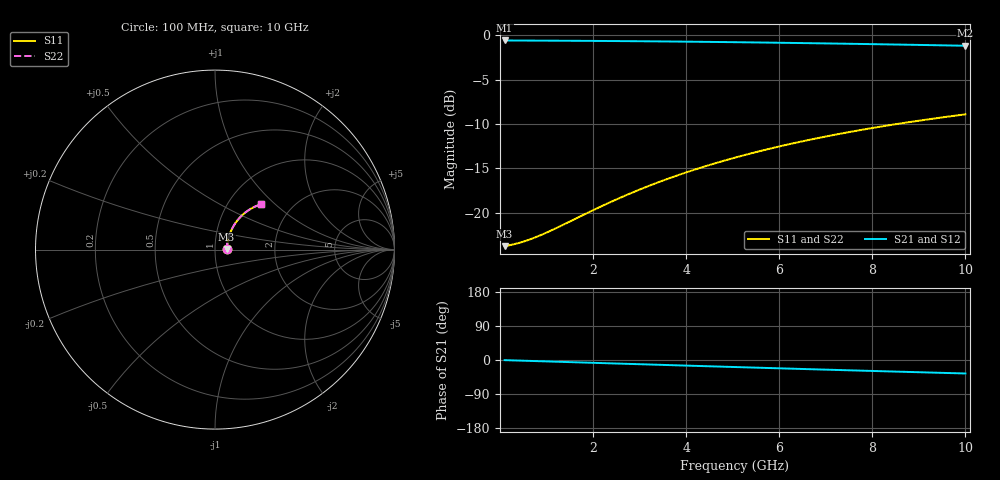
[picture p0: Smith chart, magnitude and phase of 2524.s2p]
# Hz S RI R 50.00
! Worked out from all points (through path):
!   100 points, 100 MHz to 10 GHz, reference 50 ohm
!   highest |S21| = -0.58 dB at 100 MHz (marker M1); lowest = -1.2 dB at 10 GHz (marker M2)
!   group delay of S21, straight-line fit = 9.91 ps
!   lowest |S11| = -23.8 dB at 100 MHz (marker M3), VSWR 1.14, Z = 56.9 + j0.405 ohm
!   |S11| at or under -10 dB: start of sweep to 8.524 GHz
!   |S22| runs from -23.8 to -8.9 dB; largest |S21 - S12| = 0
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1e8  0.0648 0.00354  0.9352 -0.00609  0.9352 -0.00609  0.0648 0.00354
3e8  0.0657 0.0106  0.9343 -0.0182  0.9343 -0.0182  0.0657 0.0106
4e8  0.0661 0.0141  0.9339 -0.0243  0.9339 -0.0243  0.0661 0.0141
6e8  0.0669 0.0212  0.933 -0.0364  0.933 -0.0364  0.0669 0.0212
8e8  0.0678 0.0282  0.9319 -0.0485  0.9319 -0.0485  0.0678 0.0282
1.2e9  0.0702 0.0421  0.9293 -0.0726  0.9293 -0.0726  0.0702 0.0421
1.8e9  0.0748 0.0626  0.9241 -0.1084  0.9241 -0.1084  0.0748 0.0626
2.2e9  0.0787 0.076  0.9196 -0.1321  0.9196 -0.1321  0.0787 0.076
2.6e9  0.0833 0.0892  0.9144 -0.1554  0.9144 -0.1554  0.0833 0.0892
3e9  0.0885 0.1021  0.9084 -0.1785  0.9084 -0.1785  0.0885 0.1021
3.4e9  0.0943 0.1147  0.9017 -0.2013  0.9017 -0.2013  0.0943 0.1147
3.8e9  0.1008 0.1269  0.8943 -0.2237  0.8943 -0.2237  0.1008 0.1269
4.2e9  0.1078 0.1387  0.8862 -0.2457  0.8862 -0.2457  0.1078 0.1387
4.6e9  0.1154 0.1501  0.8775 -0.2673  0.8775 -0.2673  0.1154 0.1501
5.1e9  0.1256 0.1636  0.8656 -0.2937  0.8656 -0.2937  0.1256 0.1636
5.5e9  0.1343 0.1739  0.8555 -0.3142  0.8555 -0.3142  0.1343 0.1739
5.9e9  0.1434 0.1838  0.8448 -0.3343  0.8448 -0.3343  0.1434 0.1838
6.7e9  0.163 0.2018  0.8218 -0.3728  0.8218 -0.3728  0.163 0.2018
7.5e9  0.1839 0.2176  0.7969 -0.4092  0.7969 -0.4092  0.1839 0.2176
8.4e9  0.2088 0.2326  0.7671 -0.4474  0.7671 -0.4474  0.2088 0.2326
9.2e9  0.2317 0.2434  0.7392 -0.4789  0.7392 -0.4789  0.2317 0.2434
1e10  0.2553 0.2519  0.7102 -0.5081  0.7102 -0.5081  0.2553 0.2519
